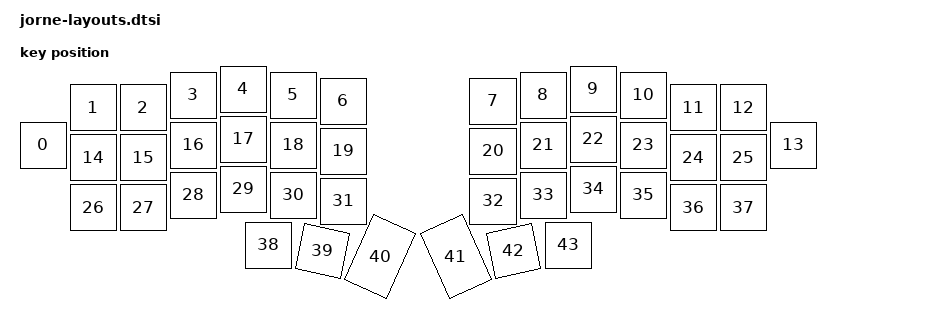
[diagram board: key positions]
#include <layouts/foostan/corne/6column.dtsi>
#include <layouts/foostan/corne/5column.dtsi>
#include <physical_layouts.dtsi>

&layouts_foostan_corne_position_map {
    joric_jorne_full_posmap: full {
        physical-layout = <&joric_jorne_full_layout>;
        positions
            = < 0  1  2  3  4  5  6        7  8  9 10 11 12 13>
            , <   14 15 16 17 18 19       20 21 22 23 24 25   >
            , <   26 27 28 29 30 31       32 33 34 35 36 37   >
            , <               38 39 40 41 42 43               >;
    };
};

&foostan_corne_6col_posmap {
    positions
        = <42  0  1  2  3  4  5        6  7  8  9 10 11 43>
        , <   12 13 14 15 16 17       18 19 20 21 22 23   >
        , <   24 25 26 27 28 29       30 31 32 33 34 35   >
        , <               36 37 38 39 40 41               >;
};

&foostan_corne_5col_posmap {
    positions
        = <36 37  0  1  2  3  4        5  6  7  8  9 38 39>
        , <   40 10 11 12 13 14       15 16 17 18 19 41   >
        , <   42 20 21 22 23 24       25 26 27 28 29 43   >
        , <               30 31 32 33 34 35               >;
};

/ {
    joric_jorne_full_layout: joric_jorne_full_layout {
        compatible = "zmk,physical-layout";
        display-name = "Full (with pinky)";

        keys  //                     w   h    x    y     rot    rx    ry
            = <&key_physical_attrs 100 100    0  112       0     0     0>
            , <&key_physical_attrs 100 100  100   37       0     0     0>
            , <&key_physical_attrs 100 100  200   37       0     0     0>
            , <&key_physical_attrs 100 100  300   12       0     0     0>
            , <&key_physical_attrs 100 100  400    0       0     0     0>
            , <&key_physical_attrs 100 100  500   12       0     0     0>
            , <&key_physical_attrs 100 100  600   24       0     0     0>
            , <&key_physical_attrs 100 100  900   24       0     0     0>
            , <&key_physical_attrs 100 100 1000   12       0     0     0>
            , <&key_physical_attrs 100 100 1100    0       0     0     0>
            , <&key_physical_attrs 100 100 1200   12       0     0     0>
            , <&key_physical_attrs 100 100 1300   37       0     0     0>
            , <&key_physical_attrs 100 100 1400   37       0     0     0>
            , <&key_physical_attrs 100 100 1500  112       0     0     0>
            , <&key_physical_attrs 100 100  100  137       0     0     0>
            , <&key_physical_attrs 100 100  200  137       0     0     0>
            , <&key_physical_attrs 100 100  300  112       0     0     0>
            , <&key_physical_attrs 100 100  400  100       0     0     0>
            , <&key_physical_attrs 100 100  500  112       0     0     0>
            , <&key_physical_attrs 100 100  600  124       0     0     0>
            , <&key_physical_attrs 100 100  900  124       0     0     0>
            , <&key_physical_attrs 100 100 1000  112       0     0     0>
            , <&key_physical_attrs 100 100 1100  100       0     0     0>
            , <&key_physical_attrs 100 100 1200  112       0     0     0>
            , <&key_physical_attrs 100 100 1300  137       0     0     0>
            , <&key_physical_attrs 100 100 1400  137       0     0     0>
            , <&key_physical_attrs 100 100  100  237       0     0     0>
            , <&key_physical_attrs 100 100  200  237       0     0     0>
            , <&key_physical_attrs 100 100  300  212       0     0     0>
            , <&key_physical_attrs 100 100  400  200       0     0     0>
            , <&key_physical_attrs 100 100  500  212       0     0     0>
            , <&key_physical_attrs 100 100  600  224       0     0     0>
            , <&key_physical_attrs 100 100  900  224       0     0     0>
            , <&key_physical_attrs 100 100 1000  212       0     0     0>
            , <&key_physical_attrs 100 100 1100  200       0     0     0>
            , <&key_physical_attrs 100 100 1200  212       0     0     0>
            , <&key_physical_attrs 100 100 1300  237       0     0     0>
            , <&key_physical_attrs 100 100 1400  237       0     0     0>
            , <&key_physical_attrs 100 100  450  312       0     0     0>
            , <&key_physical_attrs 100 100  550  312    1200   550   412>
            , <&key_physical_attrs 100 150  648  283    2400   648   433>
            , <&key_physical_attrs 100 150  852  283  (-2400)  952   433>
            , <&key_physical_attrs 100 100  950  312  (-1200) 1050   412>
            , <&key_physical_attrs 100 100 1050  312       0     0     0>
        ;
    };
};
